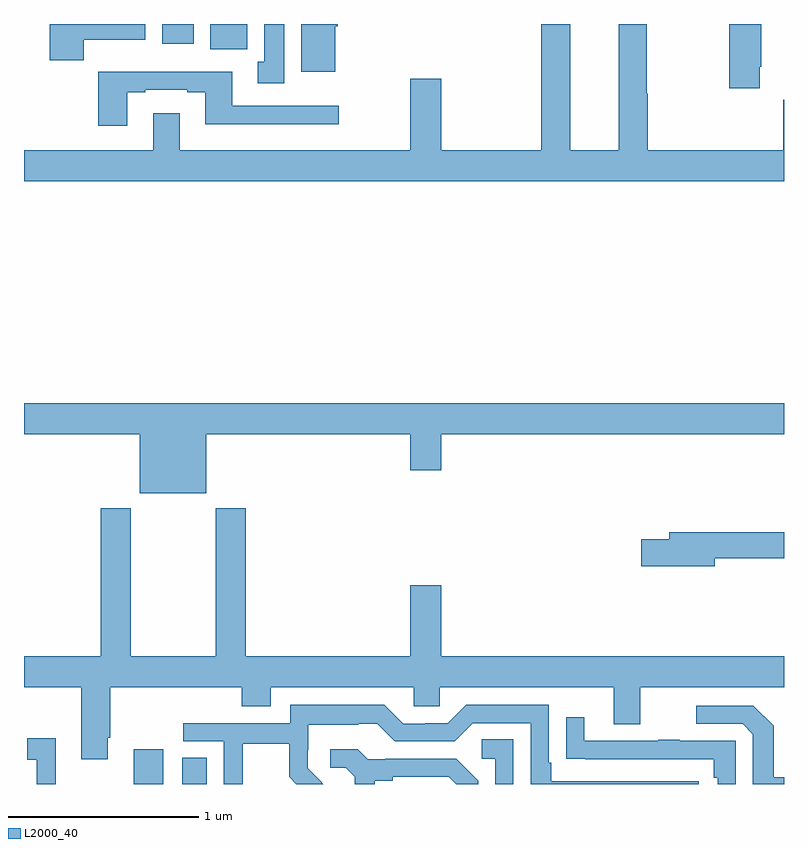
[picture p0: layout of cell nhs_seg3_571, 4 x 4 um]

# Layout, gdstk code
import gdstk
lib = gdstk.Library(unit=1e-6, precision=1e-09)
def R(c, l, rs):  # rectangles x0, y0, x1, y1
    for r in rs: c.add(gdstk.rectangle(r[:2], r[2:], *l))
def P(c, l, *ps):  # polygons
    for p in ps: c.add(gdstk.Polygon(p, *l))
L2000_40 = (2000, 40)

nhs_seg3_571 = lib.new_cell('nhs_seg3_571')
R(nhs_seg3_571, L2000_40, [(139.577,708.4,139.732,708.583), (139.832,708.4,139.963,708.539), (139.979,712.268,140.176,712.4), (139.727,712.296,139.894,712.4)])
P(nhs_seg3_571, L2000_40, [(142.278,712.032),(142.278,712.4),(142.13,712.4),(142.13,711.736),(141.874,711.736),(141.874,712.4),(141.722,712.4),(141.722,711.736),(141.196,711.736),(141.196,712.111),(141.032,712.111),(141.032,711.736),(139.819,711.736),(139.819,711.931),(139.679,711.931),(139.679,711.736),(139,711.736),(139,711.572),(143,711.572),(143,712.001),(142.997,712.001),(142.997,711.736),(142.283,711.736),(142.283,712.032)],
  [(142.873,712.174),(142.881,712.174),(142.881,712.4),(142.711,712.4),(142.711,712.062),(142.873,712.062)],
  [(139.314,712.316),(139.639,712.316),(139.639,712.4),(139.136,712.4),(139.136,712.209),(139.314,712.209)],
  [(140.638,712.388),(140.651,712.388),(140.651,712.4),(140.459,712.4),(140.459,712.148),(140.638,712.148)],
  [(140.371,712.4),(140.264,712.4),(140.264,712.202),(140.231,712.202),(140.231,712.089),(140.371,712.089)],
  [(139.543,712.041),(139.639,712.041),(139.639,712.053),(139.859,712.053),(139.859,712.041),(139.955,712.041),(139.955,711.872),(140.656,711.872),(140.656,711.969),(140.095,711.969),(140.095,712.15),(139.391,712.15),(139.391,711.864),(139.543,711.864)],
  [(139.96,710.24),(141.032,710.24),(141.032,710.052),(141.196,710.052),(141.196,710.24),(143,710.24),(143,710.404),(139,710.404),(139,710.24),(139.61,710.24),(139.61,709.931),(139.96,709.931)],
  [(139.441,708.643),(139.454,708.643),(139.454,708.908),(140.147,708.908),(140.147,708.809),(140.299,708.809),(140.299,708.908),(141.051,708.908),(141.051,708.81),(141.189,708.81),(141.189,708.908),(142.103,708.908),(142.103,708.714),(142.243,708.714),(142.243,708.908),(143,708.908),(143,709.072),(141.196,709.072),(141.196,709.447),(141.032,709.447),(141.032,709.072),(140.168,709.072),(140.168,709.852),(140.008,709.852),(140.008,709.072),(139.563,709.072),(139.563,709.852),(139.403,709.852),(139.403,709.072),(139,709.072),(139,708.908),(139.301,708.908),(139.301,708.531),(139.441,708.531)],
  [(142.636,709.588),(143,709.588),(143,709.724),(142.397,709.724),(142.397,709.688),(142.248,709.688),(142.248,709.546),(142.636,709.546)],
  [(140.151,708.612),(140.395,708.612),(140.395,708.437),(140.432,708.4),(140.574,708.4),(140.567,708.407),(140.568,708.408),(140.494,708.482),(140.494,708.579),(140.496,708.579),(140.496,708.713),(140.759,708.713),(140.759,708.717),(140.859,708.717),(140.952,708.624),(141.267,708.624),(141.363,708.72),(141.666,708.72),(141.666,708.4),(142.552,708.4),(142.552,708.414),(141.775,708.414),(141.775,708.511),(141.762,708.511),(141.762,708.816),(141.327,708.816),(141.231,708.72),(141.113,708.72),(141.113,708.717),(140.997,708.717),(140.897,708.817),(140.4,708.817),(140.4,708.72),(139.839,708.72),(139.839,708.624),(140.052,708.624),(140.052,708.4),(140.151,708.4)],
  [(143,708.435),(142.945,708.435),(142.945,708.707),(142.839,708.813),(142.539,708.813),(142.539,708.717),(142.782,708.717),(142.836,708.663),(142.836,708.4),(143,708.4)],
  [(142.746,708.627),(142.451,708.627),(142.451,708.632),(142.339,708.632),(142.339,708.627),(141.949,708.627),(141.949,708.751),(141.853,708.751),(141.853,708.532),(141.955,708.532),(141.955,708.531),(142.63,708.531),(142.63,708.434),(142.65,708.434),(142.65,708.4),(142.746,708.4)],
  [(139.166,708.64),(139.017,708.64),(139.017,708.527),(139.068,708.527),(139.068,708.4),(139.166,708.4)],
  [(141.576,708.635),(141.408,708.635),(141.408,708.534),(141.48,708.534),(141.48,708.4),(141.576,708.4)],
  [(140.845,708.416),(140.941,708.416),(140.941,708.438),(141.236,708.438),(141.274,708.4),(141.39,708.4),(141.39,708.418),(141.274,708.534),(140.902,708.534),(140.902,708.531),(140.808,708.531),(140.756,708.583),(140.613,708.583),(140.613,708.486),(140.694,708.486),(140.741,708.439),(140.741,708.4),(140.845,708.4)])

lib.write_gds('nhs_seg3_571.gds')
